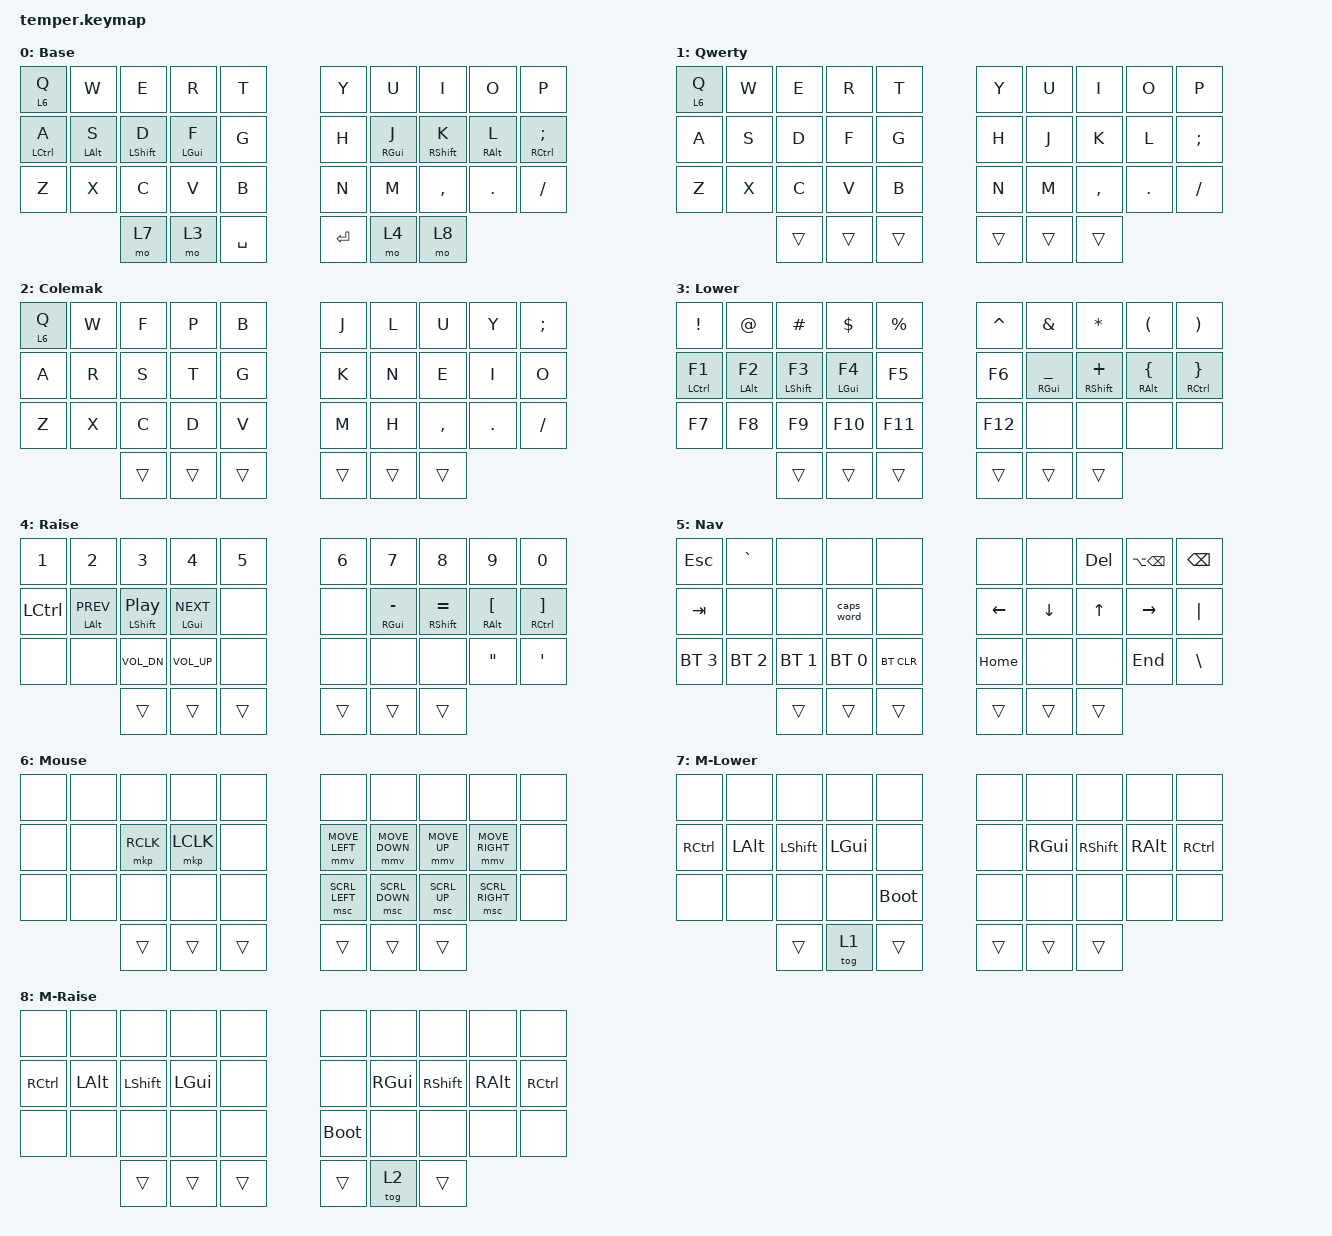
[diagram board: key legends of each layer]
/*
 * Copyright (c) 2020 duckyb
 *
 * SPDX-License-Identifier: MIT
 */

#define ZMK_POINTING_DEFAULT_MOVE_VAL 2500
#define ZMK_POINTING_DEFAULT_SCRL_VAL 30

#include <dt-bindings/zmk/mouse.h>
#include <behaviors.dtsi>
#include <dt-bindings/zmk/bt.h>
#include <dt-bindings/zmk/keys.h>
#include <dt-bindings/zmk/pointing.h>

// #define Base 0
// #define Lower 1
// #define Raise 2
// #define Nav 3
// #define Mouse 4
// #define ModLower 5
// #define ModRaise 6

// &sk { quick-release; };

&lt {
    flavor = "balanced";
    tapping-term-ms = <150>;
};

/ {
    behaviors {
        hrml: home_row_mod_symbols_left {
            compatible = "zmk,behavior-hold-tap";
            #binding-cells = <2>;
            flavor = "tap-preferred";
            require-prior-idle-ms = <110>;
            tapping-term-ms = <180>;
            quick-tap-ms = <130>;
            bindings = <&kp>, <&kp>;
            hold-trigger-key-positions = < 5 6 7 8 9 15 16 17 18 19 25 26 27 28 29 30 31 32 33 34 35 10 11 12 13 >;
            global-quick-tap;
        };

        hrmr: home_row_mod_symbols_right {
            compatible = "zmk,behavior-hold-tap";
            #binding-cells = <2>;
            flavor = "tap-preferred";
            require-prior-idle-ms = <110>;
            tapping-term-ms = <180>;
            quick-tap-ms = <130>;
            bindings = <&kp>, <&kp>;
            hold-trigger-key-positions = < 0 1 2 3 4 10 11 12 13 14 20 21 22 23 24 30 31 32 33 34 35 16 17 18 19 >;
            global-quick-tap;
        };

        hml: home_row_mod_left {
            compatible = "zmk,behavior-hold-tap";
            #binding-cells = <2>;
            flavor = "tap-preferred";
            require-prior-idle-ms = <110>;
            tapping-term-ms = <150>;
            quick-tap-ms = <130>;
            bindings = <&kp>, <&kp>;
            hold-trigger-key-positions = < 5 6 7 9 15 16 17 18 19 25 26 27 28 29 30 31 33 34 35 10 11 12 13 21 22 23>; // 8
            global-quick-tap;
        };

        hmls: home_row_mod_left_shft {
            compatible = "zmk,behavior-hold-tap";
            #binding-cells = <2>;
            flavor = "hold-preferred";
            require-prior-idle-ms = <90>;
            tapping-term-ms = <140>;
            quick-tap-ms = <125>;
            bindings = <&kp>, <&kp>;
            hold-trigger-key-positions = < 5 6 7 9 10 11 13 19 12 13 25 26 27 28 29 30 31 33 34 35 13 >; // 10 12 15 16 17 18 21 22 23 8 9
            global-quick-tap;
        };

        // hmr: home_row_mod_right {
        //     compatible = "zmk,behavior-hold-tap";
        //     #binding-cells = <2>;
        //     flavor = "hold-preferred";
        //     require-prior-idle-ms = <110>;
        //     tapping-term-ms = <150>;
        //     quick-tap-ms = <120>;
        //     bindings = <&kp>, <&kp>;
        //     hold-trigger-key-positions = < 0 1 2 3 4 10 11 12 13 14 20 21 22 23 24 30 31 32 34 35 16 17 18 19 >;
        //     global-quick-tap;
        // };

        hmrgs: home_row_mod_right_cmd_shft {
            compatible = "zmk,behavior-hold-tap";
            #binding-cells = <2>;
            flavor = "tap-preferred";
            require-prior-idle-ms = <90>;
            tapping-term-ms = <150>;
            quick-tap-ms = <130>;
            bindings = <&kp>, <&kp>;
            hold-trigger-key-positions = < 0 1 2 3 4 10 11 12 13 14 20 21 22 23 24 30 31 32 34 35 16 17 18 19 5 6 7 8 9 >;
            global-quick-tap;
        };

        hmra: home_row_mod_right_alt {
            compatible = "zmk,behavior-hold-tap";
            #binding-cells = <2>;
            flavor = "tap-preferred";
            require-prior-idle-ms = <100>;
            tapping-term-ms = <200>;
            quick-tap-ms = <150>;
            bindings = <&kp>, <&kp>;
            hold-trigger-key-positions = < 0 1 2 3 4 11 12 13 14 20 21 22 23 24 30 31 32 34 35 16 17 18 19 5 6 7 8 9 >; // 10
            global-quick-tap;
        };

        hmrc: home_row_mod_right_ctrl {
            compatible = "zmk,behavior-hold-tap";
            #binding-cells = <2>;
            flavor = "hold-preferred";
            require-prior-idle-ms = <130>;
            tapping-term-ms = <200>;
            quick-tap-ms = <150>;
            bindings = <&kp>, <&kp>;
            hold-trigger-key-positions = < 0 1 2 3 4 10 11 12 13 14 20 21 22 23 24 30 31 32 34 35 16 17 18 19 5 6 7 8 9 >;
            global-quick-tap;
        };
    };

    combos {
        compatible = "zmk,combos";

        tab {
            bindings = <&kp TAB>;
            key-positions = <0 10>;
            timeout-ms = <30>;
        };

        // esc {
        //     bindings = <&kp ESC>;
        //     key-positions = <1 2>;
        //     timeout-ms = <30>;
        // };

        colon {
            bindings = <&kp LS(SEMI)>;
            key-positions = <12 19>;
            timeout-ms = <30>;
        };

        lang_switch {
            bindings = <&kp LC(SPACE)>;
            key-positions = <19 32>;
        };
    };

    conditional_layers {
        compatible = "zmk,conditional-layers";
        tri_layer {
            if-layers = <3 4>;
            then-layer = <5>;
        };
    };

    keymap {
        compatible = "zmk,keymap";

        base {
            label = "Base";
            display-name = "Base";
            bindings = <
  &lt 6 Q       &kp W         &kp E          &kp R        &kp T         &kp Y        &kp U          &kp I           &kp O          &kp P
  &hml LCTRL A  &hml LALT S   &hmls LSHFT D  &hml LGUI F  &kp G         &kp H        &hmrgs RGUI J  &hmrgs RSHFT K  &hmra RALT L   &hmrc RCTRL SEMI
  &kp Z         &kp X         &kp C          &kp V        &kp B         &kp N        &kp M          &kp COMMA       &kp DOT        &kp FSLH
                              &mo 7          &mo 3        &kp SPACE     &kp RET      &mo 4          &mo 8
            >;
        };

        qwerty {
            label = "Qwerty";
            display-name = "Qwerty";
            bindings = <
  &lt 6 Q  &kp W  &kp E   &kp R   &kp T        &kp Y      &kp U    &kp I      &kp O    &kp P
  &kp A    &kp S  &kp D   &kp F   &kp G        &kp H      &kp J    &kp K      &kp L    &kp SEMI
  &kp Z    &kp X  &kp C   &kp V   &kp B        &kp N      &kp M    &kp COMMA  &kp DOT  &kp FSLH
                  &trans  &trans  &trans       &trans     &trans   &trans
            >;
        };

        colemak {
            label = "Colemak";
            display-name = "Colemak";
            bindings = <
  &lt 6 Q  &kp W  &kp F    &kp P    &kp B         &kp J    &kp L    &kp U      &kp Y    &kp SEMI
  &kp A    &kp R  &kp S    &kp T    &kp G         &kp K    &kp N    &kp E      &kp I    &kp O
  &kp Z    &kp X  &kp C    &kp D    &kp V         &kp M    &kp H    &kp COMMA  &kp DOT  &kp FSLH
                  &trans   &trans   &trans        &trans   &trans   &trans
            >;
        };

        lower {
            label = "Lower";
            display-name = "Lower";
            bindings = <
  &kp EXCL  &kp AT  &kp HASH  &kp DLLR  &kp PRCNT         &kp CARET  &kp AMPS   &kp STAR  &kp LPAR  &kp RPAR
  &hrml LCTRL F1    &hrml LALT F2  &hrml LSHFT F3    &hrml LGUI F4    &kp F5            &kp F6     &hrmr RGUI UNDER  &hrmr RSHFT PLUS  &hrmr RALT LBRC  &hrmr RCTRL RBRC
  &kp F7    &kp F8  &kp F9    &kp F10   &kp F11           &kp F12    &none      &none     &none     &none
                    &trans    &trans    &trans            &trans     &trans     &trans
            >;
        };

        raise {
            label = "Raise";
            display-name = "Raise";
            bindings = <
  &kp N1        &kp N2        &kp N3          &kp N4         &kp N5       &kp N6    &kp N7      &kp N8      &kp N9     &kp N0
  &kp LCTRL     &hrml LALT C_PREV    &hrml LSHFT C_PP        &hrml LGUI C_NEXT     &none        &none     &hrmr RGUI MINUS   &hrmr RSHFT EQUAL   &hrmr RALT LBKT   &hrmr RCTRL RBKT
  // &none         &kp C_PREV    &kp C_PP        &kp C_NEXT     &none        &none     &kp MINUS   &kp EQUAL   &kp LBKT   &kp RBKT
  &none         &none         &kp C_VOL_DN    &kp C_VOL_UP   &none        &none     &none       &none       &kp DQT    &kp SQT
                              &trans          &trans         &trans       &trans    &trans      &trans
            >;
        };

        nav {
            label = "Nav";
            display-name = "Nav";
            bindings = <
  &kp ESC       &kp GRAVE     &none           &none           &none            &none           &none           &kp DEL       &kp LA(BSPC)     &kp BSPC
  &kp TAB       &none         &none           &caps_word      &none            &kp LEFT_ARROW  &kp DOWN_ARROW  &kp UP_ARROW  &kp RIGHT_ARROW  &kp PIPE
  &bt BT_SEL 3  &bt BT_SEL 2  &bt BT_SEL 1    &bt BT_SEL 0    &bt BT_CLR       &kp HOME        &none           &none         &kp END          &kp BSLH
                              &trans          &trans          &trans           &trans          &trans          &trans
            >;
        };

        mouse {
            label = "Mouse";
            display-name = "Mouse";
            bindings = <
  &none   &none   &none      &none      &none       &none           &none           &none         &none            &none
  &none   &none   &mkp RCLK  &mkp LCLK  &none       &mmv MOVE_LEFT  &mmv MOVE_DOWN  &mmv MOVE_UP  &mmv MOVE_RIGHT  &none
  &none   &none   &none      &none      &none       &msc SCRL_LEFT  &msc SCRL_DOWN  &msc SCRL_UP  &msc SCRL_RIGHT  &none
                  &trans     &trans     &trans      &trans          &trans          &trans
            >;
        };

        mod_lower {
            label = "Mod Lower";
            display-name = "M-Lower";
            bindings = <
  &none       &none      &none          &none      &none           &none      &none      &none      &none      &none
  &kp RCTRL   &kp LALT   &kp LSHFT      &kp LGUI   &none           &none      &kp RGUI   &kp RSHFT  &kp RALT   &kp RCTRL
  &none       &none      &none          &none      &bootloader     &none      &none      &none      &none      &none
                         &trans         &tog 1     &trans          &trans     &trans     &trans
            >;
        };

        mod_raise {
            label = "Mod Raise";
            display-name = "M-Raise";
            bindings = <
  &none       &none      &none       &none      &none        &none       &none      &none      &none      &none
  &kp RCTRL   &kp LALT   &kp LSHFT   &kp LGUI   &none        &none       &kp RGUI   &kp RSHFT  &kp RALT   &kp RCTRL
  &none       &none      &none       &none      &none        &bootloader &none      &none      &none      &none
                         &trans      &trans     &trans       &trans      &tog 2     &trans
            >;
        };
    };
};
